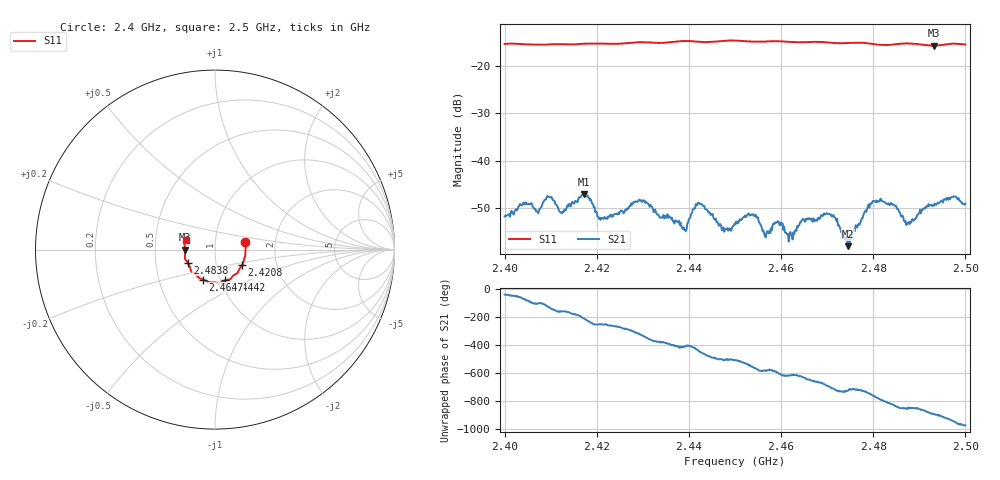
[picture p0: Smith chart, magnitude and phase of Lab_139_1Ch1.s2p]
# Hz S RI R 50
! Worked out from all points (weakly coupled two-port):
!   601 points, 2.4 GHz to 2.5 GHz, reference 50 ohm
!   highest |S21| = -47.21 dB at 2.4172 GHz (marker M1); lowest = -58.2 dB at 2.4745 GHz (marker M2)
!   lowest |S11| = -15.6 dB at 2.4932 GHz (marker M3), VSWR 1.40, Z = 35.8 - j0.0709 ohm
!   |S11| at or under -10 dB: start of sweep to end of sweep
!   S12 and S22 are empty: the file has one direction only
!   S11 on the Smith chart (normalised r, x): 2.4 GHz: 1.40, +0.12; 2.4208 GHz: 1.33, -0.24; 2.4442 GHz: 1.05, -0.37; 2.4647 GHz: 0.83, -0.29; 2.4838 GHz: 0.73, -0.11; 2.5 GHz: 0.72, +0.08
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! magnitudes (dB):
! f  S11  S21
! 2.4 GHz  -15.3  -51.9
! 2.4167 GHz  -15.2  -47.5
! 2.4172 GHz  -15.2  -47.2
! 2.4208 GHz  -15.2  -52.6
! 2.4295 GHz  -14.9  -48.5
! 2.4333 GHz  -15.0  -51.5
! 2.439 GHz  -14.6  -54.5
! 2.442 GHz  -14.8  -49.0
! 2.4442 GHz  -14.9  -50.9
! 2.45 GHz  -14.5  -53.6
! 2.454 GHz  -14.8  -51.4
! 2.462 GHz  -14.8  -55.2
! 2.4647 GHz  -14.9  -52.4
! 2.4667 GHz  -14.8  -52.3
! 2.471 GHz  -15.0  -51.9
! 2.4745 GHz  -15.0  -58.2
! 2.4795 GHz  -15.2  -49.3
! 2.4833 GHz  -15.5  -49.1
! 2.4838 GHz  -15.4  -49.0
! 2.4877 GHz  -15.2  -53.1
! 2.4932 GHz  -15.6  -49.6
! 2.5 GHz  -15.4  -49.2
